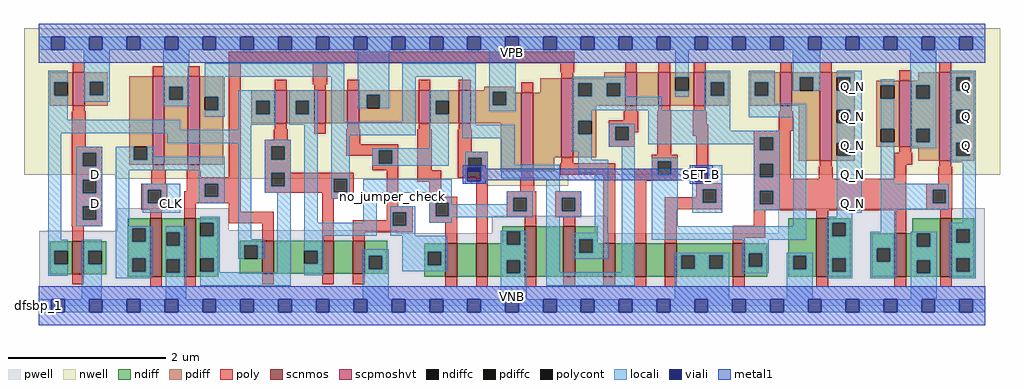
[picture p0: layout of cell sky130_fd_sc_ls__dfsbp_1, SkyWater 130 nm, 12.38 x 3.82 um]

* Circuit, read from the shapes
.subckt sky130_fd_sc_ls__dfsbp_1 CLK D SET_B VGND VNB VPB VPWR Q Q_N
XM1 VGND D n1 VNB sky130_fd_pr__nfet_01v8 w=0.42 l=0.15
XM2 VGND CLK n2 VNB sky130_fd_pr__nfet_01v8 w=0.74 l=0.15
XM3 n3 n2 VGND VNB sky130_fd_pr__nfet_01v8 w=0.74 l=0.15
XM4 n4 n2 n1 VNB sky130_fd_pr__nfet_01v8 w=0.42 l=0.15
XM5 n5 n3 n4 VNB sky130_fd_pr__nfet_01v8 w=0.42 l=0.15
XM6 VGND n6 n5 VNB sky130_fd_pr__nfet_01v8 w=0.42 l=0.15
XM7 n7 n4 n6 VNB sky130_fd_pr__nfet_01v8 w=0.42 l=0.15
XM8 VGND SET_B n7 VNB sky130_fd_pr__nfet_01v8 w=0.42 l=0.15
XM9 n8 n4 VGND VNB sky130_fd_pr__nfet_01v8 w=0.64 l=0.15
XM10 n9 n3 n8 VNB sky130_fd_pr__nfet_01v8 w=0.64 l=0.15
XM11 n10 n2 n9 VNB sky130_fd_pr__nfet_01v8 w=0.42 l=0.15
XM12 n11 n12 n10 VNB sky130_fd_pr__nfet_01v8 w=0.42 l=0.15
XM13 VGND SET_B n11 VNB sky130_fd_pr__nfet_01v8 w=0.42 l=0.15
XM14 n12 n9 VGND VNB sky130_fd_pr__nfet_01v8 w=0.42 l=0.15
XM15 Q_N n9 VGND VNB sky130_fd_pr__nfet_01v8 w=0.74 l=0.15
XM16 VGND n9 n13 VNB sky130_fd_pr__nfet_01v8 w=0.55 l=0.15
XM17 Q n13 VGND VNB sky130_fd_pr__nfet_01v8 w=0.74 l=0.15
XM18 VPWR D n1 VPB sky130_fd_pr__pfet_01v8_hvt w=0.42 l=0.15
XM19 VPWR CLK n2 VPB sky130_fd_pr__pfet_01v8_hvt w=1.12 l=0.15
XM20 n3 n2 VPWR VPB sky130_fd_pr__pfet_01v8_hvt w=1.12 l=0.15
XM21 n4 n3 n1 VPB sky130_fd_pr__pfet_01v8_hvt w=0.42 l=0.15
XM22 n14 n2 n4 VPB sky130_fd_pr__pfet_01v8_hvt w=0.42 l=0.15
XM23 VPWR n6 n14 VPB sky130_fd_pr__pfet_01v8_hvt w=0.42 l=0.15
XM24 n6 n4 VPWR VPB sky130_fd_pr__pfet_01v8_hvt w=0.42 l=0.15
XM25 VPWR SET_B n6 VPB sky130_fd_pr__pfet_01v8_hvt w=0.42 l=0.15
XM26 n15 n4 VPWR VPB sky130_fd_pr__pfet_01v8_hvt w=1 l=0.15
XM27 n9 n2 n15 VPB sky130_fd_pr__pfet_01v8_hvt w=1 l=0.15
XM28 n16 n3 n9 VPB sky130_fd_pr__pfet_01v8_hvt w=0.42 l=0.15
XM29 VPWR n12 n16 VPB sky130_fd_pr__pfet_01v8_hvt w=0.42 l=0.15
XM30 n9 SET_B VPWR VPB sky130_fd_pr__pfet_01v8_hvt w=0.42 l=0.15
XM31 VPWR n9 n12 VPB sky130_fd_pr__pfet_01v8_hvt w=0.42 l=0.15
XM32 Q_N n9 VPWR VPB sky130_fd_pr__pfet_01v8_hvt w=1.12 l=0.15
XM33 VPWR n9 n13 VPB sky130_fd_pr__pfet_01v8_hvt w=0.84 l=0.15
XM34 Q n13 VPWR VPB sky130_fd_pr__pfet_01v8_hvt w=1.12 l=0.15
.ends

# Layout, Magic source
magic
tech sky130A
magscale 1 2
<< nwell >>
rect -38 332 2438 704
rect 193 322 1343 332
rect 1135 305 1343 322
<< pwell >>
rect 199 191 481 248
rect 199 190 909 191
rect 1 184 909 190
rect 1149 184 1443 228
rect 1875 184 2399 248
rect 1 49 2399 184
rect 0 0 2400 49
<< scnmos >>
rect 84 80 114 164
rect 282 74 312 222
rect 368 74 398 222
rect 566 81 596 165
rect 718 81 748 165
rect 796 81 826 165
rect 1031 74 1061 158
rect 1109 74 1139 158
rect 1232 74 1262 202
rect 1330 74 1360 202
rect 1432 74 1462 158
rect 1510 74 1540 158
rect 1588 74 1618 158
rect 1760 74 1790 158
rect 1972 74 2002 222
rect 2170 74 2200 184
rect 2286 74 2316 222
<< scpmoshvt >>
rect 86 508 116 592
rect 288 358 318 582
rect 378 358 408 582
rect 598 463 628 547
rect 698 463 728 547
rect 782 463 812 547
rect 963 463 993 547
rect 1065 463 1095 547
rect 1224 341 1254 541
rect 1325 377 1355 577
rect 1487 508 1517 592
rect 1571 508 1601 592
rect 1661 508 1691 592
rect 1880 508 1910 592
rect 1981 368 2011 592
rect 2183 403 2213 571
rect 2284 368 2314 592
<< ndiff >>
rect 225 197 282 222
rect 27 139 84 164
rect 27 105 39 139
rect 73 105 84 139
rect 27 80 84 105
rect 114 139 171 164
rect 114 105 125 139
rect 159 105 171 139
rect 114 80 171 105
rect 225 163 237 197
rect 271 163 282 197
rect 225 120 282 163
rect 225 86 237 120
rect 271 86 282 120
rect 225 74 282 86
rect 312 186 368 222
rect 312 152 323 186
rect 357 152 368 186
rect 312 118 368 152
rect 312 84 323 118
rect 357 84 368 118
rect 312 74 368 84
rect 398 210 455 222
rect 398 176 409 210
rect 443 176 455 210
rect 398 120 455 176
rect 398 86 409 120
rect 443 86 455 120
rect 398 74 455 86
rect 509 153 566 165
rect 509 119 521 153
rect 555 119 566 153
rect 509 81 566 119
rect 596 140 718 165
rect 596 106 673 140
rect 707 106 718 140
rect 596 81 718 106
rect 748 81 796 165
rect 826 127 883 165
rect 1175 189 1232 202
rect 1175 158 1187 189
rect 826 93 837 127
rect 871 93 883 127
rect 826 81 883 93
rect 978 137 1031 158
rect 978 103 986 137
rect 1020 103 1031 137
rect 978 74 1031 103
rect 1061 74 1109 158
rect 1139 155 1187 158
rect 1221 155 1232 189
rect 1139 116 1232 155
rect 1139 82 1187 116
rect 1221 82 1232 116
rect 1139 74 1232 82
rect 1262 74 1330 202
rect 1360 169 1417 202
rect 1360 135 1371 169
rect 1405 158 1417 169
rect 1405 135 1432 158
rect 1360 74 1432 135
rect 1462 74 1510 158
rect 1540 74 1588 158
rect 1618 128 1760 158
rect 1618 94 1629 128
rect 1663 94 1701 128
rect 1735 94 1760 128
rect 1618 74 1760 94
rect 1790 133 1847 158
rect 1790 99 1801 133
rect 1835 99 1847 133
rect 1790 74 1847 99
rect 1901 127 1972 222
rect 1901 93 1913 127
rect 1947 93 1972 127
rect 1901 74 1972 93
rect 2002 210 2059 222
rect 2002 176 2013 210
rect 2047 176 2059 210
rect 2215 184 2286 222
rect 2002 120 2059 176
rect 2002 86 2013 120
rect 2047 86 2059 120
rect 2002 74 2059 86
rect 2113 146 2170 184
rect 2113 112 2125 146
rect 2159 112 2170 146
rect 2113 74 2170 112
rect 2200 150 2227 184
rect 2261 150 2286 184
rect 2200 116 2286 150
rect 2200 82 2227 116
rect 2261 82 2286 116
rect 2200 74 2286 82
rect 2316 194 2373 222
rect 2316 160 2327 194
rect 2361 160 2373 194
rect 2316 120 2373 160
rect 2316 86 2327 120
rect 2361 86 2373 120
rect 2316 74 2373 86
<< pdiff >>
rect 27 567 86 592
rect 27 533 39 567
rect 73 533 86 567
rect 27 508 86 533
rect 116 568 175 592
rect 116 534 129 568
rect 163 534 175 568
rect 116 508 175 534
rect 229 404 288 582
rect 229 370 241 404
rect 275 370 288 404
rect 229 358 288 370
rect 318 556 378 582
rect 318 522 331 556
rect 365 522 378 556
rect 318 358 378 522
rect 408 530 467 582
rect 408 496 421 530
rect 455 496 467 530
rect 408 358 467 496
rect 1434 577 1487 592
rect 1130 547 1206 555
rect 539 520 598 547
rect 539 486 551 520
rect 585 486 598 520
rect 539 463 598 486
rect 628 520 698 547
rect 628 486 651 520
rect 685 486 698 520
rect 628 463 698 486
rect 728 463 782 547
rect 812 535 963 547
rect 812 501 831 535
rect 865 501 963 535
rect 812 463 963 501
rect 993 520 1065 547
rect 993 486 1006 520
rect 1040 486 1065 520
rect 993 463 1065 486
rect 1095 543 1206 547
rect 1095 509 1151 543
rect 1185 541 1206 543
rect 1272 541 1325 577
rect 1185 509 1224 541
rect 1095 463 1224 509
rect 1171 341 1224 463
rect 1254 377 1325 541
rect 1355 565 1487 577
rect 1355 531 1368 565
rect 1402 531 1440 565
rect 1474 531 1487 565
rect 1355 508 1487 531
rect 1517 508 1571 592
rect 1601 580 1661 592
rect 1601 546 1614 580
rect 1648 546 1661 580
rect 1601 508 1661 546
rect 1691 567 1750 592
rect 1691 533 1704 567
rect 1738 533 1750 567
rect 1691 508 1750 533
rect 1804 567 1880 592
rect 1804 533 1816 567
rect 1850 533 1880 567
rect 1804 508 1880 533
rect 1910 580 1981 592
rect 1910 546 1930 580
rect 1964 546 1981 580
rect 1910 508 1981 546
rect 1355 469 1414 508
rect 1355 435 1368 469
rect 1402 435 1414 469
rect 1355 377 1414 435
rect 1254 341 1307 377
rect 1928 368 1981 508
rect 2011 580 2070 592
rect 2011 546 2024 580
rect 2058 546 2070 580
rect 2231 571 2284 592
rect 2011 497 2070 546
rect 2011 463 2024 497
rect 2058 463 2070 497
rect 2011 414 2070 463
rect 2011 380 2024 414
rect 2058 380 2070 414
rect 2124 559 2183 571
rect 2124 525 2136 559
rect 2170 525 2183 559
rect 2124 449 2183 525
rect 2124 415 2136 449
rect 2170 415 2183 449
rect 2124 403 2183 415
rect 2213 559 2284 571
rect 2213 525 2226 559
rect 2260 525 2284 559
rect 2213 449 2284 525
rect 2213 415 2226 449
rect 2260 415 2284 449
rect 2213 403 2284 415
rect 2011 368 2070 380
rect 2231 368 2284 403
rect 2314 580 2373 592
rect 2314 546 2327 580
rect 2361 546 2373 580
rect 2314 497 2373 546
rect 2314 463 2327 497
rect 2361 463 2373 497
rect 2314 414 2373 463
rect 2314 380 2327 414
rect 2361 380 2373 414
rect 2314 368 2373 380
<< ndiffc >>
rect 39 105 73 139
rect 125 105 159 139
rect 237 163 271 197
rect 237 86 271 120
rect 323 152 357 186
rect 323 84 357 118
rect 409 176 443 210
rect 409 86 443 120
rect 521 119 555 153
rect 673 106 707 140
rect 837 93 871 127
rect 986 103 1020 137
rect 1187 155 1221 189
rect 1187 82 1221 116
rect 1371 135 1405 169
rect 1629 94 1663 128
rect 1701 94 1735 128
rect 1801 99 1835 133
rect 1913 93 1947 127
rect 2013 176 2047 210
rect 2013 86 2047 120
rect 2125 112 2159 146
rect 2227 150 2261 184
rect 2227 82 2261 116
rect 2327 160 2361 194
rect 2327 86 2361 120
<< pdiffc >>
rect 39 533 73 567
rect 129 534 163 568
rect 241 370 275 404
rect 331 522 365 556
rect 421 496 455 530
rect 551 486 585 520
rect 651 486 685 520
rect 831 501 865 535
rect 1006 486 1040 520
rect 1151 509 1185 543
rect 1368 531 1402 565
rect 1440 531 1474 565
rect 1614 546 1648 580
rect 1704 533 1738 567
rect 1816 533 1850 567
rect 1930 546 1964 580
rect 1368 435 1402 469
rect 2024 546 2058 580
rect 2024 463 2058 497
rect 2024 380 2058 414
rect 2136 525 2170 559
rect 2136 415 2170 449
rect 2226 525 2260 559
rect 2226 415 2260 449
rect 2327 546 2361 580
rect 2327 463 2361 497
rect 2327 380 2361 414
<< poly >>
rect 86 592 116 618
rect 482 615 1358 645
rect 288 582 318 608
rect 378 582 408 608
rect 86 493 116 508
rect 83 404 119 493
rect 83 388 161 404
rect 83 354 111 388
rect 145 354 161 388
rect 83 320 161 354
rect 288 343 318 358
rect 378 343 408 358
rect 83 286 111 320
rect 145 286 161 320
rect 285 310 321 343
rect 375 326 411 343
rect 482 326 512 615
rect 598 547 628 573
rect 695 562 731 615
rect 1322 592 1358 615
rect 1487 592 1517 618
rect 1571 592 1601 618
rect 1661 592 1691 618
rect 1880 592 1910 618
rect 1981 592 2011 618
rect 1325 577 1355 592
rect 698 547 728 562
rect 782 547 812 573
rect 963 547 993 573
rect 1065 547 1095 573
rect 1224 541 1254 567
rect 598 448 628 463
rect 595 421 631 448
rect 698 437 728 463
rect 782 448 812 463
rect 963 448 993 463
rect 1065 448 1095 463
rect 375 310 512 326
rect 83 252 161 286
rect 83 218 111 252
rect 145 218 161 252
rect 260 294 326 310
rect 260 260 276 294
rect 310 260 326 294
rect 375 290 421 310
rect 260 244 326 260
rect 368 276 421 290
rect 455 276 512 310
rect 573 405 639 421
rect 573 371 589 405
rect 623 371 639 405
rect 779 410 815 448
rect 779 394 912 410
rect 779 380 862 394
rect 573 338 639 371
rect 846 360 862 380
rect 896 360 912 394
rect 846 344 912 360
rect 573 337 798 338
rect 573 303 589 337
rect 623 322 798 337
rect 623 303 748 322
rect 573 288 748 303
rect 782 288 798 322
rect 573 287 798 288
rect 368 260 512 276
rect 282 222 312 244
rect 368 222 398 260
rect 482 239 512 260
rect 718 272 798 287
rect 83 202 161 218
rect 84 164 114 202
rect 84 54 114 80
rect 482 209 596 239
rect 566 165 596 209
rect 718 165 748 272
rect 882 253 912 344
rect 960 344 996 448
rect 1062 391 1098 448
rect 1062 375 1139 391
rect 960 314 1020 344
rect 1062 341 1089 375
rect 1123 341 1139 375
rect 1487 493 1517 508
rect 1571 493 1601 508
rect 1661 493 1691 508
rect 1880 493 1910 508
rect 1484 470 1520 493
rect 1446 454 1520 470
rect 1446 420 1462 454
rect 1496 440 1520 454
rect 1496 420 1512 440
rect 1446 404 1512 420
rect 1568 383 1604 493
rect 1658 461 1694 493
rect 1658 431 1698 461
rect 1877 444 1913 493
rect 1325 362 1355 377
rect 1554 367 1620 383
rect 1062 325 1139 341
rect 1224 326 1254 341
rect 1322 332 1462 362
rect 1554 347 1570 367
rect 990 277 1020 314
rect 990 261 1061 277
rect 882 237 948 253
rect 882 217 898 237
rect 796 203 898 217
rect 932 203 948 237
rect 990 227 1006 261
rect 1040 227 1061 261
rect 990 211 1061 227
rect 796 187 948 203
rect 796 165 826 187
rect 1031 158 1061 211
rect 1109 158 1139 325
rect 1221 290 1257 326
rect 1187 274 1262 290
rect 1187 240 1203 274
rect 1237 240 1262 274
rect 1187 224 1262 240
rect 1310 274 1376 290
rect 1310 240 1326 274
rect 1360 240 1376 274
rect 1310 224 1376 240
rect 1232 202 1262 224
rect 1330 202 1360 224
rect 282 48 312 74
rect 368 48 398 74
rect 566 55 596 81
rect 718 55 748 81
rect 796 55 826 81
rect 1432 158 1462 332
rect 1510 333 1570 347
rect 1604 333 1620 367
rect 1510 317 1620 333
rect 1510 158 1540 317
rect 1668 311 1698 431
rect 1813 428 1907 444
rect 1813 394 1829 428
rect 1863 394 1907 428
rect 1813 360 1907 394
rect 2183 571 2213 597
rect 2284 592 2314 618
rect 2183 388 2213 403
rect 1813 326 1829 360
rect 1863 326 1907 360
rect 1981 353 2011 368
rect 2170 358 2216 388
rect 1813 322 1907 326
rect 1978 322 2014 353
rect 2170 322 2200 358
rect 2284 353 2314 368
rect 1668 295 1734 311
rect 1668 275 1684 295
rect 1588 261 1684 275
rect 1718 261 1734 295
rect 1588 245 1734 261
rect 1813 292 2200 322
rect 2281 310 2317 353
rect 1813 258 1829 292
rect 1863 258 2200 292
rect 1588 158 1618 245
rect 1813 242 2200 258
rect 2251 294 2317 310
rect 2251 260 2267 294
rect 2301 260 2317 294
rect 2251 244 2317 260
rect 1813 203 1843 242
rect 1972 222 2002 242
rect 1760 173 1843 203
rect 1760 158 1790 173
rect 2170 184 2200 242
rect 2286 222 2316 244
rect 1031 48 1061 74
rect 1109 48 1139 74
rect 1232 48 1262 74
rect 1330 48 1360 74
rect 1432 48 1462 74
rect 1510 48 1540 74
rect 1588 48 1618 74
rect 1760 48 1790 74
rect 1972 48 2002 74
rect 2170 48 2200 74
rect 2286 48 2316 74
<< polycont >>
rect 111 354 145 388
rect 111 286 145 320
rect 111 218 145 252
rect 276 260 310 294
rect 421 276 455 310
rect 589 371 623 405
rect 862 360 896 394
rect 589 303 623 337
rect 748 288 782 322
rect 1089 341 1123 375
rect 1462 420 1496 454
rect 898 203 932 237
rect 1006 227 1040 261
rect 1203 240 1237 274
rect 1326 240 1360 274
rect 1570 333 1604 367
rect 1829 394 1863 428
rect 1829 326 1863 360
rect 1684 261 1718 295
rect 1829 258 1863 292
rect 2267 260 2301 294
<< locali >>
rect 0 649 31 683
rect 65 649 127 683
rect 161 649 223 683
rect 257 649 319 683
rect 353 649 415 683
rect 449 649 511 683
rect 545 649 607 683
rect 641 649 703 683
rect 737 649 799 683
rect 833 649 895 683
rect 929 649 991 683
rect 1025 649 1087 683
rect 1121 649 1183 683
rect 1217 649 1279 683
rect 1313 649 1375 683
rect 1409 649 1471 683
rect 1505 649 1567 683
rect 1601 649 1663 683
rect 1697 649 1759 683
rect 1793 649 1855 683
rect 1889 649 1951 683
rect 1985 649 2047 683
rect 2081 649 2143 683
rect 2177 649 2239 683
rect 2273 649 2335 683
rect 2369 649 2400 683
rect 23 567 73 596
rect 23 533 39 567
rect 23 472 73 533
rect 113 568 179 649
rect 113 534 129 568
rect 163 534 179 568
rect 113 518 179 534
rect 315 556 381 649
rect 315 522 331 556
rect 365 522 381 556
rect 315 506 381 522
rect 421 581 775 615
rect 421 530 471 581
rect 455 496 471 530
rect 421 480 471 496
rect 505 520 601 547
rect 505 486 551 520
rect 585 486 601 520
rect 23 446 359 472
rect 505 459 601 486
rect 635 520 707 547
rect 635 486 651 520
rect 685 486 707 520
rect 635 459 707 486
rect 505 446 539 459
rect 23 438 539 446
rect 23 168 57 438
rect 325 412 539 438
rect 95 388 161 404
rect 95 354 111 388
rect 145 354 161 388
rect 95 320 161 354
rect 95 286 111 320
rect 145 286 161 320
rect 95 252 161 286
rect 95 218 111 252
rect 145 218 161 252
rect 95 202 161 218
rect 195 370 241 404
rect 275 378 291 404
rect 275 370 471 378
rect 195 344 471 370
rect 195 202 229 344
rect 405 310 471 344
rect 263 294 359 310
rect 263 260 276 294
rect 310 260 359 294
rect 405 276 421 310
rect 455 276 471 310
rect 405 260 471 276
rect 263 236 359 260
rect 409 210 459 226
rect 195 197 287 202
rect 23 139 73 168
rect 23 105 39 139
rect 23 76 73 105
rect 109 139 159 168
rect 109 105 125 139
rect 109 17 159 105
rect 195 163 237 197
rect 271 163 287 197
rect 195 120 287 163
rect 195 86 237 120
rect 271 86 287 120
rect 195 70 287 86
rect 321 186 373 202
rect 321 152 323 186
rect 357 152 373 186
rect 321 118 373 152
rect 321 84 323 118
rect 357 84 373 118
rect 321 17 373 84
rect 443 176 459 210
rect 409 120 459 176
rect 443 86 459 120
rect 505 169 539 412
rect 573 405 639 421
rect 573 371 589 405
rect 623 371 639 405
rect 573 337 639 371
rect 573 303 589 337
rect 623 303 639 337
rect 573 287 639 303
rect 505 153 571 169
rect 505 119 521 153
rect 555 119 571 153
rect 409 85 459 86
rect 605 85 639 287
rect 409 51 639 85
rect 673 211 707 459
rect 741 467 775 581
rect 809 535 888 649
rect 809 501 831 535
rect 865 501 888 535
rect 922 581 1108 615
rect 922 467 956 581
rect 741 433 956 467
rect 990 520 1040 547
rect 990 486 1006 520
rect 741 322 789 433
rect 990 399 1040 486
rect 1074 459 1108 581
rect 1142 543 1210 649
rect 1142 509 1151 543
rect 1185 509 1210 543
rect 1142 493 1210 509
rect 1352 565 1490 581
rect 1352 531 1368 565
rect 1402 531 1440 565
rect 1474 531 1490 565
rect 1352 530 1490 531
rect 1614 580 1648 649
rect 1614 530 1648 546
rect 1688 567 1754 596
rect 1688 533 1704 567
rect 1738 533 1754 567
rect 1352 496 1580 530
rect 1688 496 1754 533
rect 1352 469 1402 496
rect 1074 425 1207 459
rect 846 394 1040 399
rect 846 360 862 394
rect 896 360 1040 394
rect 846 355 1040 360
rect 1081 375 1139 391
rect 741 288 748 322
rect 782 288 789 322
rect 1081 350 1089 375
rect 741 272 789 288
rect 823 287 1047 321
rect 1081 316 1087 350
rect 1123 341 1139 375
rect 1121 316 1139 341
rect 1173 358 1207 425
rect 1352 435 1368 469
rect 1352 392 1402 435
rect 1446 454 1512 462
rect 1446 420 1462 454
rect 1496 420 1512 454
rect 1446 404 1512 420
rect 1546 444 1754 496
rect 1800 567 1866 596
rect 1800 533 1816 567
rect 1850 533 1866 567
rect 1912 580 1982 649
rect 1912 546 1930 580
rect 1964 546 1982 580
rect 2024 580 2087 596
rect 2058 546 2087 580
rect 1800 512 1866 533
rect 1800 478 1947 512
rect 1546 428 1879 444
rect 1546 410 1829 428
rect 1368 370 1402 392
rect 1173 324 1321 358
rect 1368 336 1444 370
rect 1081 310 1139 316
rect 1287 290 1321 324
rect 823 211 857 287
rect 990 261 1047 287
rect 673 177 857 211
rect 891 237 955 253
rect 891 203 898 237
rect 932 203 955 237
rect 990 227 1006 261
rect 1040 258 1047 261
rect 1187 274 1253 290
rect 1187 258 1203 274
rect 1040 240 1203 258
rect 1237 240 1253 274
rect 1040 227 1253 240
rect 990 224 1253 227
rect 1287 274 1376 290
rect 1287 240 1326 274
rect 1360 240 1376 274
rect 1287 224 1376 240
rect 990 211 1047 224
rect 891 177 955 203
rect 1171 189 1237 190
rect 673 140 723 177
rect 707 106 723 140
rect 673 77 723 106
rect 821 127 887 143
rect 821 93 837 127
rect 871 93 887 127
rect 821 17 887 93
rect 921 137 1036 177
rect 921 103 986 137
rect 1020 103 1036 137
rect 921 87 1036 103
rect 1171 155 1187 189
rect 1221 155 1237 189
rect 1171 116 1237 155
rect 1171 82 1187 116
rect 1221 82 1237 116
rect 1171 17 1237 82
rect 1287 85 1321 224
rect 1410 185 1444 336
rect 1355 169 1444 185
rect 1355 135 1371 169
rect 1405 135 1444 169
rect 1355 119 1444 135
rect 1478 85 1512 404
rect 1813 394 1829 410
rect 1863 394 1879 428
rect 1554 367 1620 376
rect 1554 333 1570 367
rect 1604 333 1620 367
rect 1813 360 1879 394
rect 1554 202 1620 333
rect 1657 350 1734 356
rect 1657 316 1663 350
rect 1697 316 1734 350
rect 1657 295 1734 316
rect 1657 261 1684 295
rect 1718 261 1734 295
rect 1657 236 1734 261
rect 1813 326 1829 360
rect 1863 326 1879 360
rect 1813 292 1879 326
rect 1813 258 1829 292
rect 1863 258 1879 292
rect 1813 242 1879 258
rect 1913 202 1947 478
rect 2024 497 2087 546
rect 2058 463 2087 497
rect 2024 414 2087 463
rect 2058 380 2087 414
rect 2024 236 2087 380
rect 2136 559 2170 575
rect 2136 449 2170 525
rect 2136 310 2170 415
rect 2210 559 2276 649
rect 2210 525 2226 559
rect 2260 525 2276 559
rect 2210 449 2276 525
rect 2210 415 2226 449
rect 2260 415 2276 449
rect 2210 399 2276 415
rect 2311 580 2377 596
rect 2311 546 2327 580
rect 2361 546 2377 580
rect 2311 497 2377 546
rect 2311 463 2327 497
rect 2361 463 2377 497
rect 2311 414 2377 463
rect 2311 380 2327 414
rect 2361 380 2377 414
rect 2311 364 2377 380
rect 2136 294 2308 310
rect 2136 260 2267 294
rect 2301 260 2308 294
rect 2136 244 2308 260
rect 2024 226 2063 236
rect 1554 168 1947 202
rect 1997 210 2063 226
rect 1997 176 2013 210
rect 2047 176 2063 210
rect 2136 188 2175 244
rect 2343 210 2377 364
rect 2311 194 2377 210
rect 1287 51 1512 85
rect 1613 128 1751 134
rect 1613 94 1629 128
rect 1663 94 1701 128
rect 1735 94 1751 128
rect 1613 17 1751 94
rect 1785 133 1851 168
rect 1785 99 1801 133
rect 1835 99 1851 133
rect 1785 83 1851 99
rect 1897 127 1963 134
rect 1897 93 1913 127
rect 1947 93 1963 127
rect 1897 17 1963 93
rect 1997 120 2063 176
rect 1997 86 2013 120
rect 2047 86 2063 120
rect 1997 70 2063 86
rect 2109 146 2175 188
rect 2109 112 2125 146
rect 2159 112 2175 146
rect 2109 70 2175 112
rect 2211 184 2277 188
rect 2211 150 2227 184
rect 2261 150 2277 184
rect 2211 116 2277 150
rect 2211 82 2227 116
rect 2261 82 2277 116
rect 2211 17 2277 82
rect 2311 160 2327 194
rect 2361 160 2377 194
rect 2311 120 2377 160
rect 2311 86 2327 120
rect 2361 86 2377 120
rect 2311 70 2377 86
rect 0 -17 31 17
rect 65 -17 127 17
rect 161 -17 223 17
rect 257 -17 319 17
rect 353 -17 415 17
rect 449 -17 511 17
rect 545 -17 607 17
rect 641 -17 703 17
rect 737 -17 799 17
rect 833 -17 895 17
rect 929 -17 991 17
rect 1025 -17 1087 17
rect 1121 -17 1183 17
rect 1217 -17 1279 17
rect 1313 -17 1375 17
rect 1409 -17 1471 17
rect 1505 -17 1567 17
rect 1601 -17 1663 17
rect 1697 -17 1759 17
rect 1793 -17 1855 17
rect 1889 -17 1951 17
rect 1985 -17 2047 17
rect 2081 -17 2143 17
rect 2177 -17 2239 17
rect 2273 -17 2335 17
rect 2369 -17 2400 17
<< viali >>
rect 31 649 65 683
rect 127 649 161 683
rect 223 649 257 683
rect 319 649 353 683
rect 415 649 449 683
rect 511 649 545 683
rect 607 649 641 683
rect 703 649 737 683
rect 799 649 833 683
rect 895 649 929 683
rect 991 649 1025 683
rect 1087 649 1121 683
rect 1183 649 1217 683
rect 1279 649 1313 683
rect 1375 649 1409 683
rect 1471 649 1505 683
rect 1567 649 1601 683
rect 1663 649 1697 683
rect 1759 649 1793 683
rect 1855 649 1889 683
rect 1951 649 1985 683
rect 2047 649 2081 683
rect 2143 649 2177 683
rect 2239 649 2273 683
rect 2335 649 2369 683
rect 1087 341 1089 350
rect 1089 341 1121 350
rect 1087 316 1121 341
rect 1663 316 1697 350
rect 31 -17 65 17
rect 127 -17 161 17
rect 223 -17 257 17
rect 319 -17 353 17
rect 415 -17 449 17
rect 511 -17 545 17
rect 607 -17 641 17
rect 703 -17 737 17
rect 799 -17 833 17
rect 895 -17 929 17
rect 991 -17 1025 17
rect 1087 -17 1121 17
rect 1183 -17 1217 17
rect 1279 -17 1313 17
rect 1375 -17 1409 17
rect 1471 -17 1505 17
rect 1567 -17 1601 17
rect 1663 -17 1697 17
rect 1759 -17 1793 17
rect 1855 -17 1889 17
rect 1951 -17 1985 17
rect 2047 -17 2081 17
rect 2143 -17 2177 17
rect 2239 -17 2273 17
rect 2335 -17 2369 17
<< metal1 >>
rect 0 683 2400 715
rect 0 649 31 683
rect 65 649 127 683
rect 161 649 223 683
rect 257 649 319 683
rect 353 649 415 683
rect 449 649 511 683
rect 545 649 607 683
rect 641 649 703 683
rect 737 649 799 683
rect 833 649 895 683
rect 929 649 991 683
rect 1025 649 1087 683
rect 1121 649 1183 683
rect 1217 649 1279 683
rect 1313 649 1375 683
rect 1409 649 1471 683
rect 1505 649 1567 683
rect 1601 649 1663 683
rect 1697 649 1759 683
rect 1793 649 1855 683
rect 1889 649 1951 683
rect 1985 649 2047 683
rect 2081 649 2143 683
rect 2177 649 2239 683
rect 2273 649 2335 683
rect 2369 649 2400 683
rect 0 617 2400 649
rect 1075 350 1133 356
rect 1075 316 1087 350
rect 1121 347 1133 350
rect 1651 350 1709 356
rect 1651 347 1663 350
rect 1121 319 1663 347
rect 1121 316 1133 319
rect 1075 310 1133 316
rect 1651 316 1663 319
rect 1697 316 1709 350
rect 1651 310 1709 316
rect 0 17 2400 49
rect 0 -17 31 17
rect 65 -17 127 17
rect 161 -17 223 17
rect 257 -17 319 17
rect 353 -17 415 17
rect 449 -17 511 17
rect 545 -17 607 17
rect 641 -17 703 17
rect 737 -17 799 17
rect 833 -17 895 17
rect 929 -17 991 17
rect 1025 -17 1087 17
rect 1121 -17 1183 17
rect 1217 -17 1279 17
rect 1313 -17 1375 17
rect 1409 -17 1471 17
rect 1505 -17 1567 17
rect 1601 -17 1663 17
rect 1697 -17 1759 17
rect 1793 -17 1855 17
rect 1889 -17 1951 17
rect 1985 -17 2047 17
rect 2081 -17 2143 17
rect 2177 -17 2239 17
rect 2273 -17 2335 17
rect 2369 -17 2400 17
rect 0 -49 2400 -17
<< labels >>
rlabel comment s 0 0 0 0 4 dfsbp_1
flabel comment s 898 276 898 276 0 FreeSans 200 0 0 0 no_jumper_check
flabel comment s 657 309 657 309 0 FreeSans 200 0 0 0 no_jumper_check
flabel pwell s 0 0 2400 49 0 FreeSans 200 0 0 0 VNB
port 5 nsew ground bidirectional
flabel nwell s 0 617 2400 666 0 FreeSans 200 0 0 0 VPB
port 6 nsew power bidirectional
flabel metal1 s 1663 316 1697 350 0 FreeSans 340 0 0 0 SET_B
port 3 nsew signal input
flabel metal1 s 0 617 2400 666 0 FreeSans 340 0 0 0 VPWR
port 7 nsew power bidirectional abutment
flabel metal1 s 0 0 2400 49 0 FreeSans 340 0 0 0 VGND
port 4 nsew ground bidirectional abutment
flabel locali s 2335 390 2369 424 0 FreeSans 340 0 0 0 Q
port 8 nsew signal output
flabel locali s 2335 464 2369 498 0 FreeSans 340 0 0 0 Q
port 8 nsew signal output
flabel locali s 2335 538 2369 572 0 FreeSans 340 0 0 0 Q
port 8 nsew signal output
flabel locali s 2047 242 2081 276 0 FreeSans 340 0 0 0 Q_N
port 9 nsew signal output
flabel locali s 2047 316 2081 350 0 FreeSans 340 0 0 0 Q_N
port 9 nsew signal output
flabel locali s 2047 390 2081 424 0 FreeSans 340 0 0 0 Q_N
port 9 nsew signal output
flabel locali s 2047 464 2081 498 0 FreeSans 340 0 0 0 Q_N
port 9 nsew signal output
flabel locali s 2047 538 2081 572 0 FreeSans 340 0 0 0 Q_N
port 9 nsew signal output
flabel locali s 127 242 161 276 0 FreeSans 340 0 0 0 D
port 2 nsew signal input
flabel locali s 127 316 161 350 0 FreeSans 340 0 0 0 D
port 2 nsew signal input
flabel locali s 319 242 353 276 0 FreeSans 340 0 0 0 CLK
port 1 nsew clock input
<< properties >>
string LEFsite unit
string LEFclass CORE
string FIXED_BBOX 0 0 2400 666
string GDS_FILE $PDKPATH/libs.ref/sky130_fd_sc_ls/gds/sky130_fd_sc_ls.gds
string LEFsymmetry X Y
string GDS_END 1904812
string GDS_START 1886638
<< end >>
